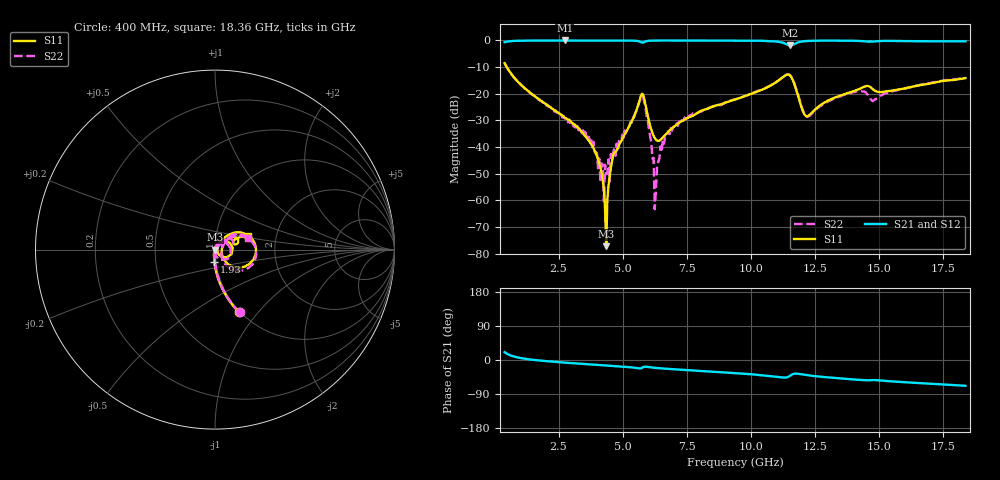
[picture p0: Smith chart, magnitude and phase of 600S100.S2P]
!  American Technical Ceramics  Date:  10/27/06
!  One Norden Lane
!  Huntington Station,  NY.  11746-2102
!  Tel:  (631) 622-4700  Fax:  (631) 622-4748
!  Part Number  600S100  Mounting Orientation: Horizontal
!  Description: Ultra Low ESR Microwave capacitors
!  Application: Coupling, Bypass, Tuning, DC Block
!  Filters, Matching
# GHZ S DB R 50
! Freq  |S11|  S11 Ph  |S21|  S21 Ph  |S12|  S12 Ph  |S22|  S22 Ph
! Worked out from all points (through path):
!   400 points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, 400 MHz to 18.36 GHz, reference 50 ohm
!   highest |S21| = -0.02 dB at 2.74 GHz (marker M1); lowest = -1.9 dB at 11.52 GHz (marker M2)
!   group delay of S21, straight-line fit = 11.2 ps
!   lowest |S11| = -77.2 dB at 4.36 GHz (marker M3), VSWR 1.00, Z = 50 + j0.0074 ohm
!   |S11| at or under -10 dB: 483.5 MHz to end of sweep
!   |S22| runs from -63.3 to -8.5 dB; largest |S21 - S12| = 0.0032
!   S11 on the Smith chart (normalised r, x): 400 MHz: 0.98, -0.80; 1.93 GHz: 0.98, -0.13; 18.36 GHz: 1.42, +0.22
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0.4  -8.53 -69.1  -0.68 20.6  -0.69 20.6  -8.54 -68.6
1.93  -23.41 -93.0  -0.03 -2.4  -0.04 -2.4  -23.68 -92.4
2.74  -28.92 -99.9  -0.02 -7.0  -0.03 -6.9  -29.24 -88.2
3.415  -34.40 -105.3  -0.02 -10.2  -0.03 -10.2  -34.84 -95.4
4.09  -46.10 -108.9  -0.03 -13.2  -0.03 -13.2  -43.49 -81.8
4.135  -47.86 -109.0  -0.03 -13.5  -0.03 -13.4  -53.32 -36.4
4.18  -49.71 -106.0  -0.03 -13.7  -0.03 -13.6  -46.15 -96.3
4.27  -55.84 -107.2  -0.03 -14.1  -0.03 -14.0  -60.41 -103.5
4.315  -63.59 -100.0  -0.03 -14.3  -0.03 -14.2  -46.70 -22.1
4.36  -77.21 32.5  -0.03 -14.5  -0.03 -14.4  -50.24 56.4
4.405  -59.49 66.6  -0.03 -14.7  -0.03 -14.6  -49.85 -20.9
4.63  -42.91 67.7  -0.03 -15.7  -0.03 -15.6  -42.17 30.9
5.71  -20.82 24.2  -0.65 -22.1  -0.65 -22.0  -21.18 6.5
6.205  -35.81 -32.1  -0.07 -20.4  -0.06 -20.3  -44.05 -93.0
6.25  -36.68 -24.6  -0.06 -20.7  -0.06 -20.6  -63.33 48.9
6.385  -37.69 -1.2  -0.05 -21.5  -0.05 -21.4  -45.60 100.9
6.88  -33.33 40.9  -0.04 -23.9  -0.03 -23.8  -32.86 66.2
9.4  -22.11 51.4  -0.09 -34.5  -0.08 -34.4  -22.09 43.4
11.515  -13.11 -14.7  -1.91 -41.9  -1.90 -41.8  -12.94 -21.2
12.37  -27.18 21.6  -0.15 -41.8  -0.14 -41.7  -27.37 14.9
15.385  -18.98 24.5  -0.19 -56.0  -0.18 -56.0  -19.39 42.0
18.355  -14.16 22.1  -0.34 -68.1  -0.33 -68.1  -14.09 19.6
